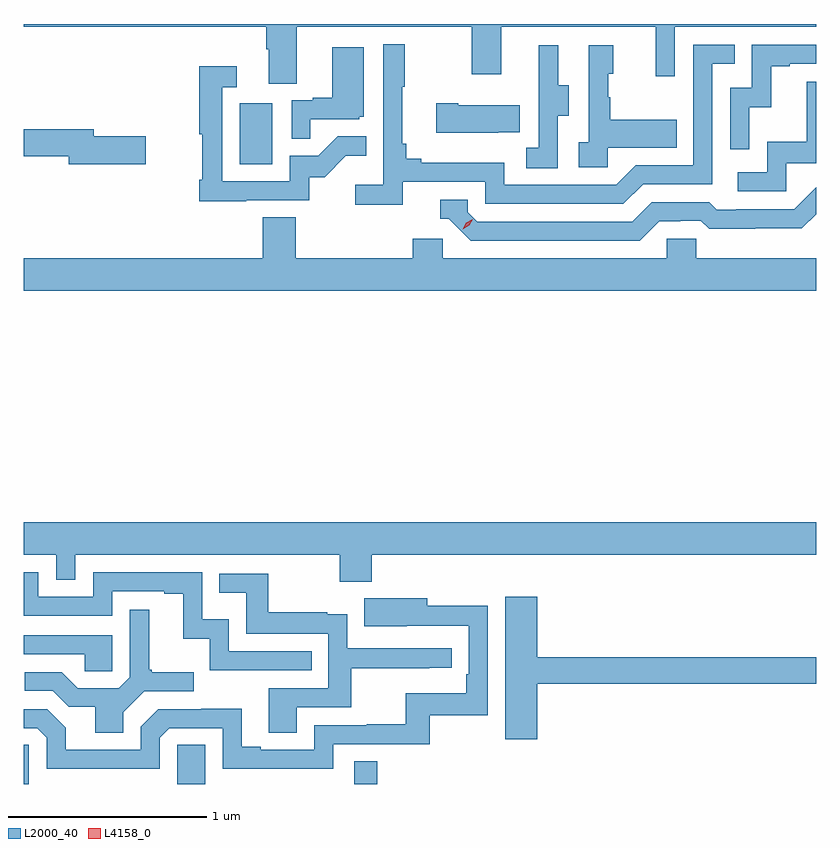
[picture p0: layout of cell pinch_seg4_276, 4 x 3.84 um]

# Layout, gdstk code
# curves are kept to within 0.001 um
import gdstk
lib = gdstk.Library(unit=1e-6, precision=1e-09)
def R(c, l, rs):  # rectangles x0, y0, x1, y1
    for r in rs: c.add(gdstk.rectangle(r[:2], r[2:], *l))
def P(c, l, *ps):  # polygons
    for p in ps: c.add(gdstk.Polygon(p, *l))
L2000_40 = (2000, 40)
L4158_0 = (4158, 0)

pinch_seg4_276 = lib.new_cell('pinch_seg4_276')
R(pinch_seg4_276, L2000_40, [(937.012,828.963,937.038,829.16), (937.788,828.963,937.927,829.16), (938.679,828.963,938.795,829.079), (938.102,832.092,938.266,832.399)])
P(pinch_seg4_276, L2000_40, [(937.012,832.784),(938.237,832.784),(938.237,832.672),(938.249,832.672),(938.249,832.498),(938.389,832.498),(938.389,832.784),(939.274,832.784),(939.274,832.545),(939.421,832.545),(939.421,832.784),(940.202,832.784),(940.202,832.536),(940.299,832.536),(940.299,832.784),(941.012,832.784),(941.012,832.799),(937.012,832.799)],
  [(938.924,832.002),(939.342,832.002),(939.342,831.891),(940.039,831.891),(940.138,831.99),(940.488,831.99),(940.488,832.599),(940.601,832.599),(940.601,832.695),(940.392,832.695),(940.392,832.086),(940.101,832.086),(940.002,831.987),(939.438,831.987),(939.438,832.099),(939.019,832.099),(939.019,832.118),(938.942,832.118),(938.942,832.195),(938.923,832.195),(938.923,832.483),(938.935,832.483),(938.935,832.696),(938.826,832.696),(938.826,831.988),(938.685,831.988),(938.685,831.886),(938.924,831.886)],
  [(940.674,832.379),(940.784,832.379),(940.784,832.587),(940.879,832.587),(940.879,832.599),(941.012,832.599),(941.012,832.695),(940.686,832.695),(940.686,832.476),(940.578,832.476),(940.578,832.167),(940.674,832.167)],
  [(939.708,832.336),(939.763,832.336),(939.763,832.491),(939.709,832.491),(939.709,832.693),(939.611,832.693),(939.611,832.479),(939.612,832.479),(939.612,832.175),(939.549,832.175),(939.549,832.072),(939.708,832.072)],
  [(939.96,832.175),(940.307,832.175),(940.307,832.315),(939.973,832.315),(939.973,832.43),(939.963,832.43),(939.963,832.548),(939.988,832.548),(939.988,832.693),(939.864,832.693),(939.864,832.202),(939.813,832.202),(939.813,832.077),(939.96,832.077)],
  [(938.459,832.317),(938.706,832.317),(938.706,832.332),(938.728,832.332),(938.728,832.681),(938.57,832.681),(938.57,832.426),(938.471,832.426),(938.471,832.413),(938.364,832.413),(938.364,832.219),(938.459,832.219)],
  [(938.135,831.909),(938.454,831.909),(938.454,832.026),(938.53,832.026),(938.637,832.133),(938.741,832.133),(938.741,832.232),(938.597,832.232),(938.499,832.134),(938.355,832.134),(938.355,832.005),(938.013,832.005),(938.013,832.479),(938.086,832.479),(938.086,832.585),(937.897,832.585),(937.897,832.242),(937.912,832.242),(937.912,832.012),(937.897,832.012),(937.897,831.904),(938.135,831.904)],
  [(940.86,832.095),(941.012,832.095),(941.012,832.507),(940.963,832.507),(940.963,832.204),(940.764,832.204),(940.764,832.05),(940.617,832.05),(940.617,831.954),(940.86,831.954)],
  [(939.407,832.253),(939.515,832.253),(939.515,832.39),(939.205,832.39),(939.205,832.398),(939.093,832.398),(939.093,832.25),(939.407,832.25)],
  [(937.627,832.232),(937.366,832.232),(937.366,832.268),(937.012,832.268),(937.012,832.132),(937.238,832.132),(937.238,832.09),(937.627,832.09)],
  [(940.219,831.804),(940.326,831.804),(940.326,831.807),(940.429,831.807),(940.471,831.765),(940.704,831.765),(940.704,831.767),(940.94,831.767),(941.012,831.839),(941.012,831.974),(940.902,831.864),(940.609,831.864),(940.609,831.861),(940.51,831.861),(940.471,831.9),(940.182,831.9),(940.083,831.801),(939.3,831.801),(939.252,831.849),(939.252,831.912),(939.113,831.912),(939.113,831.816),(939.156,831.816),(939.267,831.705),(940.12,831.705)],
  [(941.012,831.616),(940.407,831.616),(940.407,831.714),(940.257,831.714),(940.257,831.616),(939.126,831.616),(939.126,831.714),(938.975,831.714),(938.975,831.616),(938.384,831.616),(938.384,831.824),(938.219,831.824),(938.219,831.616),(937.012,831.616),(937.012,831.452),(941.012,831.452)],
  [(938.768,830.12),(941.012,830.12),(941.012,830.284),(937.012,830.284),(937.012,830.12),(937.176,830.12),(937.176,829.993),(937.272,829.993),(937.272,830.12),(938.608,830.12),(938.608,829.985),(938.768,829.985)],
  [(938.465,829.632),(938.046,829.632),(938.046,829.795),(937.914,829.795),(937.914,830.031),(937.362,830.031),(937.362,829.908),(937.086,829.908),(937.086,830.031),(937.012,830.031),(937.012,829.812),(937.458,829.812),(937.458,829.935),(937.721,829.935),(937.721,829.923),(937.817,829.923),(937.817,829.697),(937.95,829.697),(937.95,829.536),(938.465,829.536)],
  [(938.389,829.35),(938.666,829.35),(938.666,829.546),(939.059,829.546),(939.059,829.551),(939.172,829.551),(939.172,829.647),(938.646,829.647),(938.646,829.819),(938.543,829.819),(938.543,829.831),(938.245,829.831),(938.245,830.025),(937.999,830.025),(937.999,829.928),(938.134,829.928),(938.134,829.722),(938.55,829.722),(938.55,829.446),(938.249,829.446),(938.249,829.222),(938.389,829.222)],
  [(939.604,829.468),(941.012,829.468),(941.012,829.604),(939.604,829.604),(939.604,829.909),(939.443,829.909),(939.443,829.188),(939.604,829.188)],
  [(937.698,829.197),(937.746,829.245),(938.016,829.245),(938.016,829.041),(938.574,829.041),(938.574,829.164),(939.061,829.164),(939.061,829.311),(939.354,829.311),(939.354,829.862),(939.049,829.862),(939.049,829.9),(938.731,829.9),(938.731,829.76),(939.258,829.761),(939.258,829.516),(939.245,829.516),(939.245,829.42),(938.94,829.42),(938.94,829.265),(938.743,829.265),(938.743,829.26),(938.478,829.26),(938.478,829.137),(938.209,829.137),(938.209,829.15),(938.113,829.15),(938.113,829.343),(937.908,829.343),(937.908,829.341),(937.692,829.341),(937.602,829.251),(937.602,829.137),(937.225,829.137),(937.225,829.247),(937.131,829.341),(937.012,829.341),(937.012,829.245),(937.08,829.245),(937.128,829.197),(937.128,829.041),(937.698,829.041)],
  [(937.513,829.324),(937.62,829.431),(937.87,829.431),(937.87,829.528),(937.657,829.528),(937.657,829.54),(937.645,829.54),(937.645,829.843),(937.548,829.843),(937.548,829.503),(937.491,829.446),(937.285,829.446),(937.204,829.527),(937.017,829.527),(937.017,829.434),(937.158,829.434),(937.238,829.354),(937.373,829.354),(937.373,829.222),(937.513,829.222)],
  [(937.458,829.713),(937.012,829.713),(937.012,829.617),(937.321,829.617),(937.321,829.533),(937.458,829.533)])
P(pinch_seg4_276, L4158_0, [(939.229,831.763),(939.229,831.763),(939.246,831.795),(939.277,831.814),(939.277,831.814),(939.277,831.814),(939.26,831.782),(939.229,831.763)])

lib.write_gds('pinch_seg4_276.gds')
